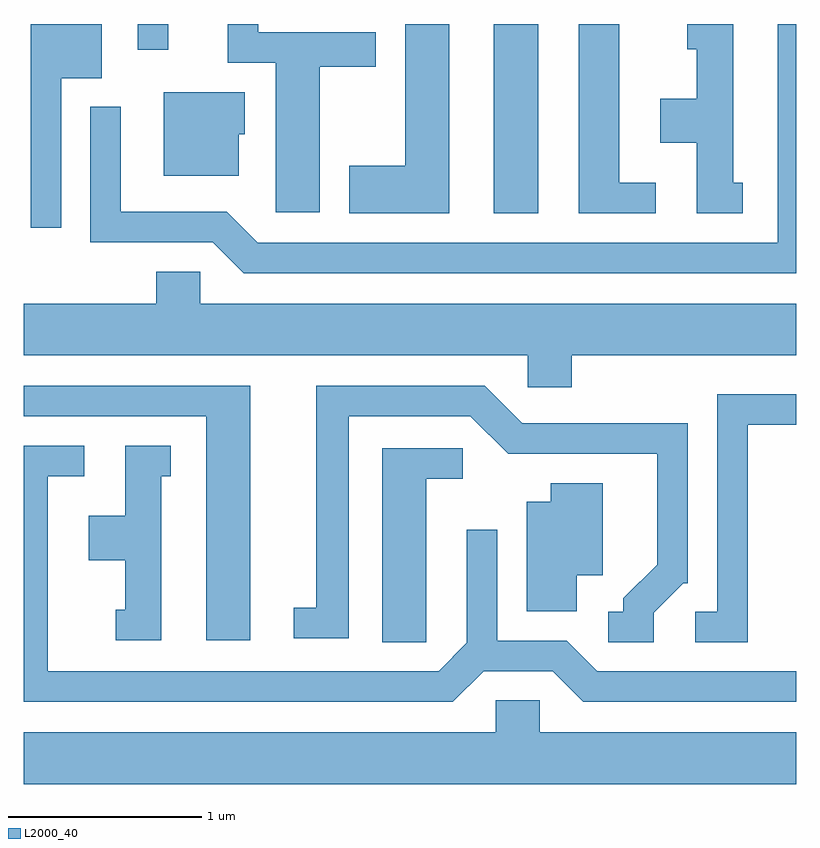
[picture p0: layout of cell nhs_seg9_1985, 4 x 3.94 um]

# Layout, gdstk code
import gdstk
lib = gdstk.Library(unit=1e-6, precision=1e-09)
def R(c, l, rs):  # rectangles x0, y0, x1, y1
    for r in rs: c.add(gdstk.rectangle(r[:2], r[2:], *l))
def P(c, l, *ps):  # polygons
    for p in ps: c.add(gdstk.Polygon(p, *l))
L2000_40 = (2000, 40)

nhs_seg9_1985 = lib.new_cell('nhs_seg9_1985')
R(nhs_seg9_1985, L2000_40, [(246.046,1981.451,246.274,1982.432), (244.201,1982.298,244.359,1982.432)])
P(nhs_seg9_1985, L2000_40, [(245.814,1982.432),(245.586,1982.432),(245.586,1981.699),(245.296,1981.699),(245.296,1981.451),(245.814,1981.451)],
  [(245.144,1982.211),(245.434,1982.211),(245.434,1982.389),(244.824,1982.389),(244.824,1982.432),(244.666,1982.432),(244.666,1982.231),(244.916,1982.231),(244.916,1981.456),(245.144,1981.456)],
  [(243.804,1982.151),(244.014,1982.151),(244.014,1982.432),(243.646,1982.432),(243.646,1981.378),(243.804,1981.378)],
  [(246.883,1981.609),(246.694,1981.609),(246.694,1982.432),(246.486,1982.432),(246.486,1981.451),(246.883,1981.451)],
  [(247.611,1982.432),(247.516,1982.432),(247.516,1981.299),(244.822,1981.299),(244.662,1981.459),(244.114,1981.459),(244.114,1982.003),(243.956,1982.003),(243.956,1981.301),(244.589,1981.301),(244.749,1981.141),(247.611,1981.141)],
  [(247.333,1981.609),(247.284,1981.609),(247.284,1982.432),(247.048,1982.432),(247.048,1982.301),(247.096,1982.301),(247.096,1982.044),(246.906,1982.044),(246.906,1981.816),(247.096,1981.816),(247.096,1981.451),(247.333,1981.451)],
  [(244.724,1981.861),(244.754,1981.861),(244.754,1982.079),(244.336,1982.079),(244.336,1981.646),(244.724,1981.646)],
  [(246.449,1980.716),(247.611,1980.716),(247.611,1980.984),(244.524,1980.984),(244.524,1981.149),(244.296,1981.149),(244.296,1980.984),(243.611,1980.984),(243.611,1980.716),(246.221,1980.716),(246.221,1980.551),(246.449,1980.551)],
  [(244.784,1980.559),(243.611,1980.559),(243.611,1980.401),(244.556,1980.401),(244.556,1979.241),(244.784,1979.241)],
  [(246.874,1979.384),(247.027,1979.536),(247.049,1979.536),(247.049,1980.364),(246.192,1980.364),(245.997,1980.559),(245.126,1980.559),(245.126,1979.409),(245.008,1979.409),(245.008,1979.251),(245.294,1979.251),(245.294,1980.401),(245.924,1980.401),(246.119,1980.206),(246.891,1980.206),(246.891,1979.632),(246.716,1979.457),(246.716,1979.389),(246.638,1979.389),(246.638,1979.231),(246.874,1979.231)],
  [(247.359,1980.356),(247.611,1980.356),(247.611,1980.514),(247.201,1980.514),(247.201,1979.389),(247.088,1979.389),(247.088,1979.231),(247.359,1979.231)],
  [(244.324,1980.091),(244.373,1980.091),(244.373,1980.249),(244.136,1980.249),(244.136,1979.884),(243.946,1979.884),(243.946,1979.656),(244.136,1979.656),(244.136,1979.399),(244.088,1979.399),(244.088,1979.241),(244.324,1979.241)],
  [(245.992,1979.081),(246.349,1979.081),(246.509,1978.921),(247.611,1978.921),(247.611,1979.079),(246.582,1979.079),(246.422,1979.239),(246.064,1979.239),(246.064,1979.813),(245.906,1979.813),(245.906,1979.227),(245.759,1979.079),(243.734,1979.079),(243.734,1980.091),(243.923,1980.091),(243.923,1980.249),(243.611,1980.249),(243.611,1978.921),(245.832,1978.921)],
  [(245.694,1980.076),(245.883,1980.076),(245.883,1980.234),(245.466,1980.234),(245.466,1979.231),(245.694,1979.231)],
  [(246.474,1979.576),(246.609,1979.576),(246.609,1980.054),(246.341,1980.054),(246.341,1979.959),(246.216,1979.959),(246.216,1979.391),(246.474,1979.391)],
  [(247.611,1978.764),(246.284,1978.764),(246.284,1978.929),(246.056,1978.929),(246.056,1978.764),(243.611,1978.764),(243.611,1978.496),(247.611,1978.496)])

lib.write_gds('nhs_seg9_1985.gds')
